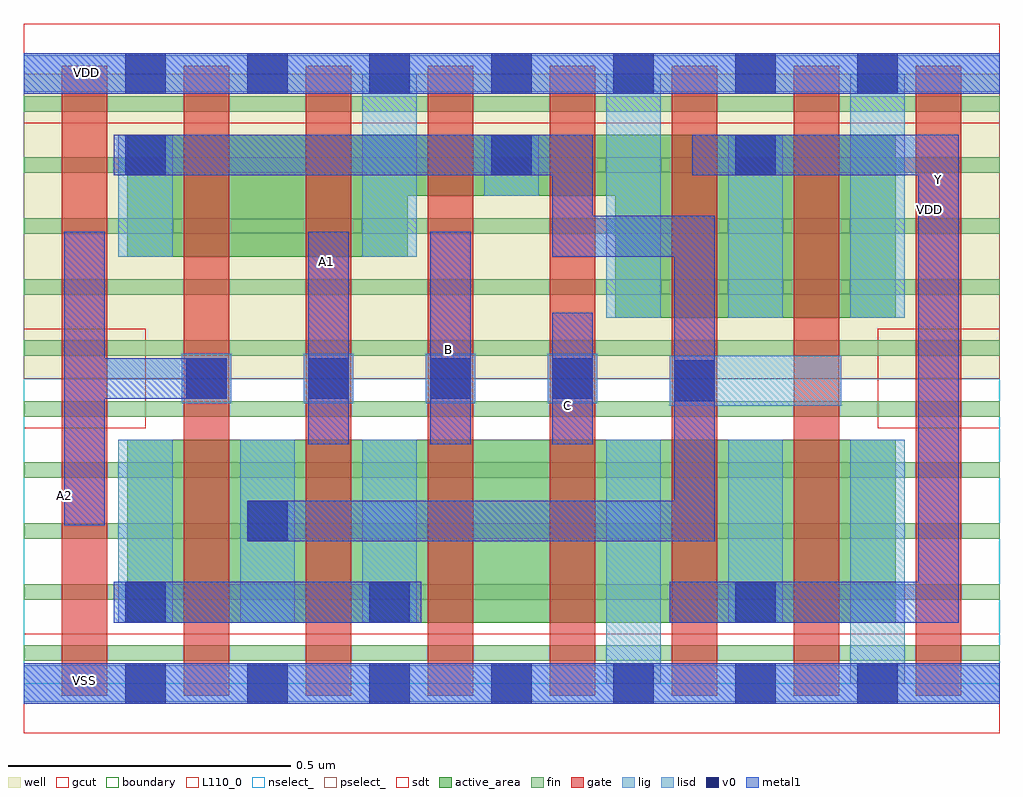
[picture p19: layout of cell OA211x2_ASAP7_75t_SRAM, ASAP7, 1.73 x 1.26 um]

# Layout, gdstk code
import gdstk
lib = gdstk.Library(unit=1e-6, precision=2.5e-10)
def R(c, l, rs):  # rectangles x0, y0, x1, y1
    for r in rs: c.add(gdstk.rectangle(r[:2], r[2:], *l))
def A(c, l, x, y, w, h, nx, ny, dx, dy):  # array of equal rectangles
    R(c, l, [(x+i*dx, y+j*dy, x+i*dx+w, y+j*dy+h) for i in range(nx) for j in range(ny)])
def P(c, l, *ps):  # polygons
    for p in ps: c.add(gdstk.Polygon(p, *l))
well = (1, 0)
fin = (2, 0)
gate = (7, 0)
gcut = (10, 0)
active_area = (11, 0)
nselect_ = (12, 0)
pselect_ = (13, 0)
lig = (16, 0)
lisd = (17, 0)
v0 = (18, 0)
metal1 = (19, 0)
sdt = (88, 0)
boundary = (100, 0)
L110_0 = (110, 0)

oa211x2_asap7_75t_sram = lib.new_cell('OA211x2_ASAP7_75t_SRAM')
R(oa211x2_asap7_75t_sram, well, [(0,0.54,1.728,1.08)])
A(oa211x2_asap7_75t_sram, fin, 0, 0.04, 1.728, 0.028, 1, 10, 0, 0.108)
A(oa211x2_asap7_75t_sram, gate, 0.068, -0.022, 0.08, 1.116, 8, 1, 0.216, 0)
R(oa211x2_asap7_75t_sram, gcut, [(0,-0.088,1.728,0.088), (0,0.452,0.216,0.628), (1.512,0.452,1.728,0.628), (0,0.992,1.728,1.168)])
R(oa211x2_asap7_75t_sram, active_area, [(0.184,0.108,1.544,0.432)])
P(oa211x2_asap7_75t_sram, active_area, [(1.544,0.972),(0.184,0.972),(0.184,0.756),(0.68,0.756),(0.68,0.864),(1.048,0.864),(1.048,0.648),(1.544,0.648)])
R(oa211x2_asap7_75t_sram, nselect_, [(0,0,1.728,0.54)])
R(oa211x2_asap7_75t_sram, pselect_, [(0,0.54,1.728,1.08)])
A(oa211x2_asap7_75t_sram, lig, 0.28, 0.496, 0.088, 0.088, 4, 1, 0.216, 0)
R(oa211x2_asap7_75t_sram, lig, [(0,-0.032,1.728,0.032), (1.144,0.492,1.448,0.58), (0,1.048,1.728,1.112)])
A(oa211x2_asap7_75t_sram, lisd, 0.168, 0.108, 0.096, 0.324, 3, 1, 0.216, 0)
R(oa211x2_asap7_75t_sram, lisd, [(1.032,0,1.128,0.432), (1.464,0,1.56,0.432), (1.248,0.108,1.344,0.432), (1.032,0.648,1.128,1.08), (1.248,0.648,1.344,0.972), (1.464,0.648,1.56,1.08), (0.168,0.756,0.264,0.972), (0.6,0.756,0.696,1.08), (0.816,0.864,0.912,0.972)])
A(oa211x2_asap7_75t_sram, v0, 0.18, -0.036, 0.072, 0.072, 7, 2, 0.216, 1.08)
A(oa211x2_asap7_75t_sram, v0, 0.288, 0.504, 0.072, 0.072, 4, 1, 0.216, 0)
R(oa211x2_asap7_75t_sram, v0, [(0.18,0.108,0.252,0.18), (0.612,0.108,0.684,0.18), (1.26,0.108,1.332,0.18), (0.396,0.252,0.468,0.324), (1.152,0.5,1.224,0.572), (0.18,0.9,0.252,0.972), (0.828,0.9,0.9,0.972), (1.26,0.9,1.332,0.972)])
R(oa211x2_asap7_75t_sram, metal1, [(0,-0.036,1.728,0.036), (0.16,0.108,0.704,0.18), (0.504,0.424,0.576,0.8), (0.72,0.424,0.792,0.8), (0.936,0.424,1.008,0.656), (0,1.044,1.728,1.116)])
P(oa211x2_asap7_75t_sram, metal1, [(0.36,0.576),(0.144,0.576),(0.144,0.8),(0.072,0.8),(0.072,0.28),(0.144,0.28),(0.144,0.504),(0.36,0.504)],
  [(1.224,0.828),(1.008,0.828),(1.008,0.972),(0.16,0.972),(0.16,0.9),(0.936,0.9),(0.936,0.756),(1.152,0.756),(1.152,0.324),(0.396,0.324),(0.396,0.252),(1.224,0.252)],
  [(1.656,0.972),(1.184,0.972),(1.184,0.9),(1.584,0.9),(1.584,0.18),(1.144,0.18),(1.144,0.108),(1.656,0.108)])
A(oa211x2_asap7_75t_sram, sdt, 0.168, 0.108, 0.096, 0.324, 3, 1, 0.216, 0)
A(oa211x2_asap7_75t_sram, sdt, 1.032, 0.108, 0.096, 0.324, 3, 2, 0.216, 0.54)
R(oa211x2_asap7_75t_sram, sdt, [(0.168,0.756,0.264,0.972), (0.6,0.756,0.696,0.972), (0.816,0.864,0.912,0.972)])
R(oa211x2_asap7_75t_sram, boundary, [(0,0,1.728,1.08)])
R(oa211x2_asap7_75t_sram, L110_0, [(0,0,1.728,1.08)])
oa211x2_asap7_75t_sram.add(gdstk.Label('VSS', (1.88,0.836), layer=3, texttype=251))
oa211x2_asap7_75t_sram.add(gdstk.Label('VDD', (1.604,0.84), layer=1, texttype=251))
oa211x2_asap7_75t_sram.add(gdstk.Label('B', (0.752,0.592), layer=19, texttype=251))
oa211x2_asap7_75t_sram.add(gdstk.Label('C', (0.964,0.492), layer=19, texttype=251))
oa211x2_asap7_75t_sram.add(gdstk.Label('VDD', (0.112,1.082), layer=19, texttype=251))
oa211x2_asap7_75t_sram.add(gdstk.Label('VSS', (0.108,0.006), layer=19, texttype=251))
oa211x2_asap7_75t_sram.add(gdstk.Label('A1', (0.536,0.748), layer=19, texttype=251))
oa211x2_asap7_75t_sram.add(gdstk.Label('Y', (1.62,0.892), layer=19, texttype=251))
oa211x2_asap7_75t_sram.add(gdstk.Label('A2', (0.072,0.332), layer=19, texttype=251))

lib.write_gds('OA211x2_ASAP7_75t_SRAM.gds')
